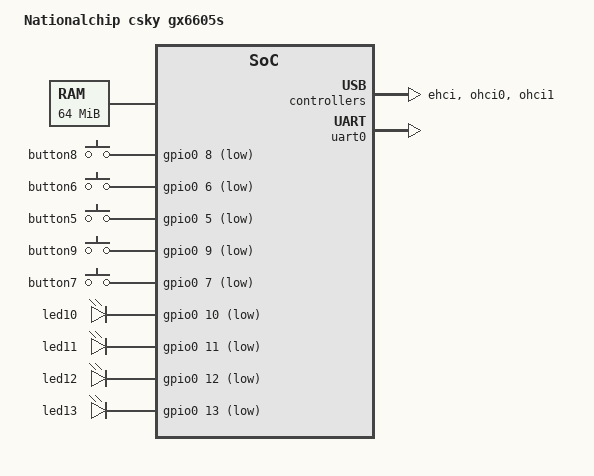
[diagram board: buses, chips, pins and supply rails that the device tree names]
/dts-v1/;
#include <dt-bindings/gpio/gpio.h>
#include <dt-bindings/input/input.h>

/ {
	model = "Nationalchip csky gx6605s";
	compatible = "csky,nationalchip-gx6605s";
	#address-cells = <1>;
	#size-cells = <1>;

	memory {
		device_type = "memory";
		reg = <0x10000000 0x04000000>;
	};

	cpus {
		#address-cells = <0>;
		#size-cells = <0>;

		cpu {
			compatible = "csky,ck610";
			device_type = "cpu";
			ccr	= <0x7d>;
			hint	= <0x1c>;
		};
	};

	soc {
		#address-cells = <1>;
		#size-cells = <1>;
		compatible = "simple-bus";
		ranges;

		intc: interrupt-controller {
			compatible = "nationalchip,intc-v1,ave";
			reg = <0x00500000 0x400>;
			interrupt-controller;
			#interrupt-cells = <1>;
		};

		timer0 {
			compatible = "nationalchip,timer-v1";
			reg = <0x0020a000 0x400>;
			clock-frequency = <1000000>;
			interrupts = <10>;
			interrupt-parent = <&intc>;
		};

		ehci: ehci-hcd {
			compatible = "generic-ehci";
			reg = <0x00900000 0x400>;
			interrupt-parent = <&intc>;
			interrupts = <59>;
		};

		ohci0: ohci-hcd0 {
			compatible = "generic-ohci";
			reg = <0x00a00000 0x400>;
			interrupt-parent = <&intc>;
			interrupts = <58>;
		};

		ohci1: ohci-hcd1 {
			compatible = "generic-ohci";
			reg = <0x00b00000 0x400>;
			interrupt-parent = <&intc>;
			interrupts = <57>;
		};

		uart0: serial {
			compatible = "ns16550a";
			reg = <0x00403000 0x400>;
			interrupt-parent = <&intc>;
			interrupts = <15>;
			clock-frequency = <29491200>;
			baud = <115200>;
			reg-shift = <2>;
			reg-io-width = <1>;
		};

		gpio0: gpio {
			compatible = "wd,mbl-gpio";
			reg-names = "dirout", "dat", "set", "clr";
			reg = <0x305000 4>, <0x305004 4>, <0x305008 4>, <0x30500c 4>;
			bgpio-base = <0>;
			#gpio-cells = <2>;
			gpio-controller;
		};

		gpio_buttons {
			compatible = "gpio-keys-polled";
			#address-cells = <1>;
			#size-cells = <0>;
			poll-interval = <100>;
			autorepeat;

			button0 {
				label = "button8";
				linux,code = <KEY_LEFT>;
				gpios = <&gpio0 8 GPIO_ACTIVE_LOW>;
			};

			button1 {
				label = "button6";
				linux,code = <KEY_RIGHT>;
				gpios = <&gpio0 6 GPIO_ACTIVE_LOW>;
			};

			button2 {
				label = "button5";
				linux,code = <KEY_UP>;
				gpios = <&gpio0 5 GPIO_ACTIVE_LOW>;
			};

			button3 {
				label = "button9";
				linux,code = <KEY_DOWN>;
				gpios = <&gpio0 9 GPIO_ACTIVE_LOW>;
			};

			button4 {
				label = "button7";
				linux,code = <KEY_ENTER>;
				gpios = <&gpio0 7 GPIO_ACTIVE_LOW>;
			};
		};

		gpio_leds {
			compatible = "gpio-leds";

			led0 {
				label = "led10";
				gpios = <&gpio0 10 GPIO_ACTIVE_LOW>;
				linux,default-trigger = "heartbeat";
			};

			led1 {
				label = "led11";
				gpios = <&gpio0 11 GPIO_ACTIVE_LOW>;
				linux,default-trigger = "timer";
			};

			led2 {
				label = "led12";
				gpios = <&gpio0 12 GPIO_ACTIVE_LOW>;
				linux,default-trigger = "default-on";
			};

			led3 {
				label = "led13";
				gpios = <&gpio0 13 GPIO_ACTIVE_LOW>;
				linux,default-trigger = "default-on";
			};
		};
	};

	chosen {
		bootargs = "console=ttyS0,115200 init=/sbin/init root=/dev/sda2 rw rootwait";
	};
};
